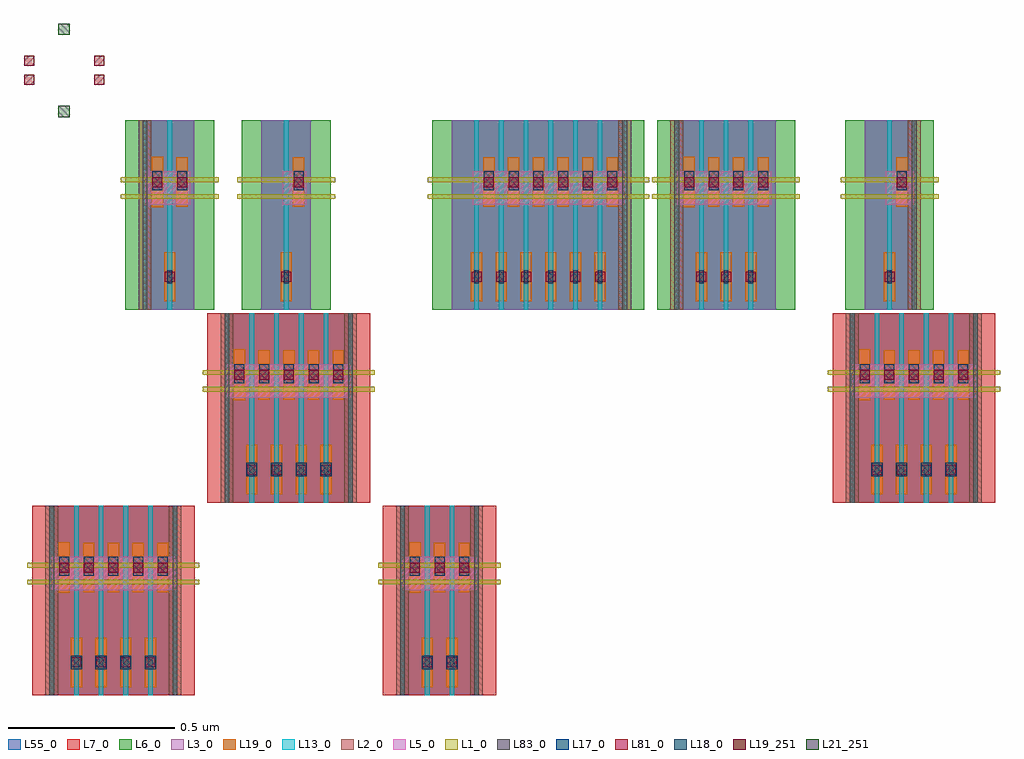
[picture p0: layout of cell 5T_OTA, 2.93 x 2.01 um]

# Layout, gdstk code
import gdstk
lib = gdstk.Library(unit=1e-6, precision=1e-09)
def R(c, l, rs):  # rectangles x0, y0, x1, y1
    for r in rs: c.add(gdstk.rectangle(r[:2], r[2:], *l))
L1_0 = (1, 0)
L2_0 = (2, 0)
L3_0 = (3, 0)
L5_0 = (5, 0)
L6_0 = (6, 0)
L7_0 = (7, 0)
L13_0 = (13, 0)
L17_0 = (17, 0)
L18_0 = (18, 0)
L19_0 = (19, 0)
L19_251 = (19, 251)
L21_251 = (21, 251)
L55_0 = (55, 0)
L81_0 = (81, 0)
L83_0 = (83, 0)

nfet_pcell_acef = lib.new_cell('nfet_pcell_acef')
R(nfet_pcell_acef, L1_0, [(-0.14,0,0.154,0.014), (-0.14,0.05,0.154,0.064)])
R(nfet_pcell_acef, L2_0, [(-0.086,-0.333,-0.048,0.235)])
R(nfet_pcell_acef, L5_0, [(-0.067,-0.018,0,0.082), (0,-0.018,0.014,0.082), (0.014,-0.018,0.069,0.082)])
R(nfet_pcell_acef, L7_0, [(-0.126,-0.333,0.14,0.235)])
R(nfet_pcell_acef, L13_0, [(-0.074,-0.333,-0.06,0.235), (-0.074,-0.333,-0.06,0.235), (0,-0.333,0.014,0.235)])
R(nfet_pcell_acef, L17_0, [(-0.045,0.025,-0.015,0.082), (0.029,0.025,0.059,0.082)])
R(nfet_pcell_acef, L18_0, [(-0.01,-0.254,0.024,-0.214)])
R(nfet_pcell_acef, L19_0, [(-0.01,-0.308,0.024,-0.16), (-0.01,-0.308,0.024,-0.16), (-0.047,-0.026,-0.013,0.126), (-0.047,-0.024,-0.013,0.124), (0.027,-0.024,0.061,0.124), (0.027,-0.02,0.061,0.12)])
R(nfet_pcell_acef, L55_0, [(-0.067,-0.333,0.081,0.235)])
R(nfet_pcell_acef, L81_0, [(-0.008,-0.249,0.022,-0.219), (-0.045,0.035,-0.015,0.065), (0.029,0.035,0.059,0.065)])
R(nfet_pcell_acef, L83_0, [(-0.074,-0.333,-0.06,0.235)])

nfet_pcell_9fc7 = lib.new_cell('nfet_pcell_9fc7')
R(nfet_pcell_9fc7, L1_0, [(-0.14,0,0.154,0.014), (-0.14,0.05,0.154,0.064)])
R(nfet_pcell_9fc7, L2_0, [(0.062,-0.333,0.1,0.235)])
R(nfet_pcell_9fc7, L5_0, [(-0.005,-0.018,0,0.082), (0,-0.018,0.014,0.082), (0.014,-0.018,0.081,0.082)])
R(nfet_pcell_9fc7, L7_0, [(-0.126,-0.333,0.14,0.235)])
R(nfet_pcell_9fc7, L13_0, [(0,-0.333,0.014,0.235), (0.074,-0.333,0.088,0.235), (0.074,-0.333,0.088,0.235)])
R(nfet_pcell_9fc7, L17_0, [(0.029,0.025,0.059,0.082)])
R(nfet_pcell_9fc7, L18_0, [(-0.01,-0.254,0.024,-0.214)])
R(nfet_pcell_9fc7, L19_0, [(-0.01,-0.308,0.024,-0.16), (-0.01,-0.308,0.024,-0.16), (0.027,-0.024,0.061,0.124), (0.027,-0.02,0.061,0.12)])
R(nfet_pcell_9fc7, L55_0, [(-0.067,-0.333,0.081,0.235)])
R(nfet_pcell_9fc7, L81_0, [(-0.008,-0.249,0.022,-0.219), (0.029,0.035,0.059,0.065)])
R(nfet_pcell_9fc7, L83_0, [(0.074,-0.333,0.088,0.235)])

nfet_pcell_66c6 = lib.new_cell('nfet_pcell_66c6')
R(nfet_pcell_66c6, L1_0, [(-0.14,0,0.154,0.014), (-0.14,0.05,0.154,0.064)])
R(nfet_pcell_66c6, L5_0, [(-0.005,-0.018,0,0.082), (0,-0.018,0.014,0.082), (0.014,-0.018,0.069,0.082)])
R(nfet_pcell_66c6, L7_0, [(-0.126,-0.333,0.14,0.235)])
R(nfet_pcell_66c6, L13_0, [(0,-0.333,0.014,0.235)])
R(nfet_pcell_66c6, L17_0, [(0.029,0.025,0.059,0.082)])
R(nfet_pcell_66c6, L18_0, [(-0.01,-0.254,0.024,-0.214)])
R(nfet_pcell_66c6, L19_0, [(-0.01,-0.308,0.024,-0.16), (-0.01,-0.308,0.024,-0.16), (0.027,-0.024,0.061,0.124), (0.027,-0.02,0.061,0.12)])
R(nfet_pcell_66c6, L55_0, [(-0.067,-0.333,0.081,0.235)])
R(nfet_pcell_66c6, L81_0, [(-0.008,-0.249,0.022,-0.219), (0.029,0.035,0.059,0.065)])

pfet_pcell_eb9b = lib.new_cell('pfet_pcell_eb9b')
R(pfet_pcell_eb9b, L1_0, [(-0.14,0,0.154,0.014), (-0.14,0.05,0.154,0.064)])
R(pfet_pcell_eb9b, L2_0, [(-0.086,-0.333,-0.048,0.235)])
R(pfet_pcell_eb9b, L3_0, [(-0.067,-0.333,0.081,0.235)])
R(pfet_pcell_eb9b, L5_0, [(-0.067,-0.018,0,0.082), (0,-0.018,0.014,0.082), (0.014,-0.018,0.069,0.082)])
R(pfet_pcell_eb9b, L6_0, [(-0.126,-0.333,0.14,0.235)])
R(pfet_pcell_eb9b, L13_0, [(-0.074,-0.333,-0.06,0.235), (-0.074,-0.333,-0.06,0.235), (0,-0.333,0.014,0.235)])
R(pfet_pcell_eb9b, L17_0, [(-0.045,0.025,-0.015,0.082), (0.029,0.025,0.059,0.082)])
R(pfet_pcell_eb9b, L18_0, [(0,-0.254,0.014,-0.214)])
R(pfet_pcell_eb9b, L19_0, [(-0.01,-0.308,0.024,-0.16), (-0.01,-0.308,0.024,-0.16), (-0.047,-0.026,-0.013,0.126), (-0.047,-0.024,-0.013,0.124), (0.027,-0.024,0.061,0.124), (0.027,-0.02,0.061,0.12)])
R(pfet_pcell_eb9b, L55_0, [(-0.067,-0.333,0.081,0.235)])
R(pfet_pcell_eb9b, L81_0, [(-0.008,-0.249,0.022,-0.219), (-0.045,0.035,-0.015,0.065), (0.029,0.035,0.059,0.065)])
R(pfet_pcell_eb9b, L83_0, [(-0.074,-0.333,-0.06,0.235)])

pfet_pcell_b398 = lib.new_cell('pfet_pcell_b398')
R(pfet_pcell_b398, L1_0, [(-0.14,0,0.154,0.014), (-0.14,0.05,0.154,0.064)])
R(pfet_pcell_b398, L3_0, [(-0.067,-0.333,0.081,0.235)])
R(pfet_pcell_b398, L5_0, [(-0.005,-0.018,0,0.082), (0,-0.018,0.014,0.082), (0.014,-0.018,0.069,0.082)])
R(pfet_pcell_b398, L6_0, [(-0.126,-0.333,0.14,0.235)])
R(pfet_pcell_b398, L13_0, [(0,-0.333,0.014,0.235)])
R(pfet_pcell_b398, L17_0, [(0.029,0.025,0.059,0.082)])
R(pfet_pcell_b398, L18_0, [(0,-0.254,0.014,-0.214)])
R(pfet_pcell_b398, L19_0, [(-0.01,-0.308,0.024,-0.16), (-0.01,-0.308,0.024,-0.16), (0.027,-0.024,0.061,0.124), (0.027,-0.02,0.061,0.12)])
R(pfet_pcell_b398, L55_0, [(-0.067,-0.333,0.081,0.235)])
R(pfet_pcell_b398, L81_0, [(-0.008,-0.249,0.022,-0.219), (0.029,0.035,0.059,0.065)])

pfet_pcell_af94 = lib.new_cell('pfet_pcell_af94')
R(pfet_pcell_af94, L1_0, [(-0.14,0,0.154,0.014), (-0.14,0.05,0.154,0.064)])
R(pfet_pcell_af94, L2_0, [(0.062,-0.333,0.1,0.235)])
R(pfet_pcell_af94, L3_0, [(-0.067,-0.333,0.081,0.235)])
R(pfet_pcell_af94, L5_0, [(-0.005,-0.018,0,0.082), (0,-0.018,0.014,0.082), (0.014,-0.018,0.081,0.082)])
R(pfet_pcell_af94, L6_0, [(-0.126,-0.333,0.14,0.235)])
R(pfet_pcell_af94, L13_0, [(0,-0.333,0.014,0.235), (0.074,-0.333,0.088,0.235), (0.074,-0.333,0.088,0.235)])
R(pfet_pcell_af94, L17_0, [(0.029,0.025,0.059,0.082)])
R(pfet_pcell_af94, L18_0, [(0,-0.254,0.014,-0.214)])
R(pfet_pcell_af94, L19_0, [(-0.01,-0.308,0.024,-0.16), (-0.01,-0.308,0.024,-0.16), (0.027,-0.024,0.061,0.124), (0.027,-0.02,0.061,0.12)])
R(pfet_pcell_af94, L55_0, [(-0.067,-0.333,0.081,0.235)])
R(pfet_pcell_af94, L81_0, [(-0.008,-0.249,0.022,-0.219), (0.029,0.035,0.059,0.065)])
R(pfet_pcell_af94, L83_0, [(0.074,-0.333,0.088,0.235)])

c_5t_ota = lib.new_cell('5T_OTA')
R(c_5t_ota, L19_251, [(0,0.097,0.03,0.127), (0.21,0.097,0.24,0.127), (0,0.153,0.03,0.183), (0.21,0.153,0.24,0.183)])
R(c_5t_ota, L21_251, [(0.103,0,0.137,0.034), (0.103,0.246,0.137,0.28)])
c_5t_ota.add(gdstk.Reference(nfet_pcell_acef, (0.15,-1.401)))
c_5t_ota.add(gdstk.Reference(nfet_pcell_acef, (2.55,-0.823)))
c_5t_ota.add(gdstk.Reference(nfet_pcell_acef, (0.676,-0.823)))
c_5t_ota.add(gdstk.Reference(nfet_pcell_acef, (1.202,-1.401)))
c_5t_ota.add(gdstk.Reference(nfet_pcell_9fc7, (0.372,-1.401)))
c_5t_ota.add(gdstk.Reference(nfet_pcell_9fc7, (2.772,-0.823)))
c_5t_ota.add(gdstk.Reference(nfet_pcell_9fc7, (0.898,-0.823)))
c_5t_ota.add(gdstk.Reference(nfet_pcell_9fc7, (1.276,-1.401)))
c_5t_ota.add(gdstk.Reference(nfet_pcell_66c6, (0.298,-1.401)))
c_5t_ota.add(gdstk.Reference(nfet_pcell_66c6, (0.224,-1.401)))
c_5t_ota.add(gdstk.Reference(nfet_pcell_66c6, (2.698,-0.823)))
c_5t_ota.add(gdstk.Reference(nfet_pcell_66c6, (2.624,-0.823)))
c_5t_ota.add(gdstk.Reference(nfet_pcell_66c6, (0.824,-0.823)))
c_5t_ota.add(gdstk.Reference(nfet_pcell_66c6, (0.75,-0.823)))
c_5t_ota.add(gdstk.Reference(pfet_pcell_eb9b, (0.43,-0.245)))
c_5t_ota.add(gdstk.Reference(pfet_pcell_eb9b, (2.024,-0.245)))
c_5t_ota.add(gdstk.Reference(pfet_pcell_b398, (1.646,-0.245)))
c_5t_ota.add(gdstk.Reference(pfet_pcell_b398, (1.572,-0.245)))
c_5t_ota.add(gdstk.Reference(pfet_pcell_b398, (1.498,-0.245)))
c_5t_ota.add(gdstk.Reference(pfet_pcell_b398, (1.424,-0.245)))
c_5t_ota.add(gdstk.Reference(pfet_pcell_b398, (1.35,-0.245)))
c_5t_ota.add(gdstk.Reference(pfet_pcell_b398, (0.779,-0.245)))
c_5t_ota.add(gdstk.Reference(pfet_pcell_b398, (2.172,-0.245)))
c_5t_ota.add(gdstk.Reference(pfet_pcell_b398, (2.098,-0.245)))
c_5t_ota.add(gdstk.Reference(pfet_pcell_af94, (1.72,-0.245)))
c_5t_ota.add(gdstk.Reference(pfet_pcell_af94, (2.588,-0.245)))

lib.write_gds('5T_OTA.gds')
